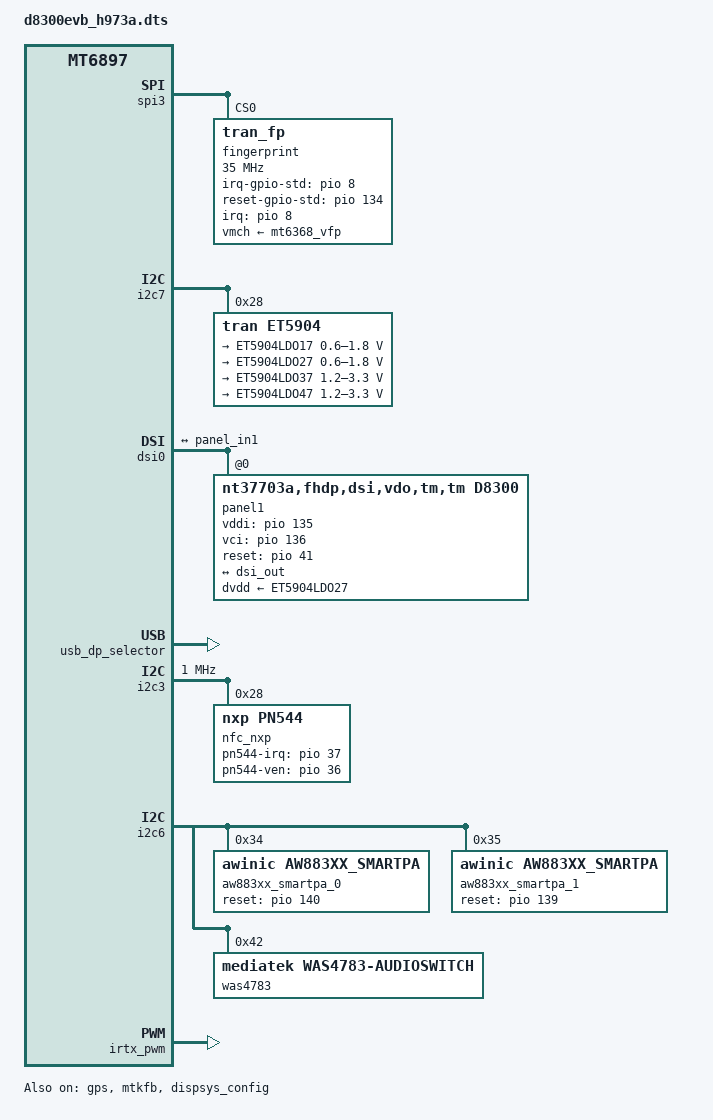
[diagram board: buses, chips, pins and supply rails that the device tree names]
// SPDX-License-Identifier: (GPL-2.0 OR MIT)
/*
 * Copyright (C) 2022 MediaTek Inc.
 */
/dts-v1/;
/plugin/;
#include <dt-bindings/interrupt-controller/arm-gic.h>
#include <dt-bindings/interrupt-controller/irq.h>
#include <dt-bindings/pinctrl/mt6897-pinfunc.h>
#include <dt-bindings/phy/phy.h>
#include <dt-bindings/iio/mt635x-auxadc.h>

&chosen {
bootargs_ext = "8250.nr_uarts=4";

};

&md_auxadc{
    io-channels = <&pmic_adc (ADC_PURES_OPEN_MASK | AUXADC_VIN1)>;
};

&pdc {
	pd-vbus-upper-bound = <9000000>;
};

&connfem {
/* Enable epa_elna node to support Wifi & BT ePA/eLNA FEM on customer load */
#if 1
	epa-elna {
		parts = <&qm42195 &nofem>;	/* [0] */
		wifi {
			flags-0 {
				/*open-loop;*/
			};
		};
		bt {
			flags-0 {
				/* choose one of: epa-elna/epa/elna/bypass */
				epa-elna;
			};
		};
	};
#endif
};
&tran_sensor_cust {
    /*lcm info for sensor start*/
    /*als sensor support state*/
    un_als_support = <1 0 0 0>;/*ML MSL SL SSL*/
    /*main sensor:ML*/
    ml_lcm_info = <843 63 43 43>;/*offset_x, offset_y, clip_w, clip_h*/
    /*main sub als lcm info:MSL*/
    /*lcm info for sensor end*/
	ml_nv_info = <1 1 1>; /*vendortype:SensorTek,  algotype:Cutout, version:V1_0_0*/
	nv_restore_time = <3>;
};
&spi3 {
    fingerprint@0 {
        compatible = "tran_fp";
        reg = <0>;
        spi-max-frequency = <35000000>;
        interrupt-parent = <&pio>;
        interrupts = <8 1 8 0>;
        debounce = <27 0>;
        irq-gpio = <8>;
        irq-gpio-std = <&pio 8 0x0>;
        reset-gpio = <134>;
        reset-gpio-std = <&pio 134 0x0>;
        vmch-supply = <&mt6368_vfp>;
        pinctrl-names ="tran_fp_default",
            "tran_fp_pin_irq",
            "tran_fp_irq_pull_down",
            "tran_fp_reset_high",
            "tran_fp_reset_low",
            "tran_fp_spi_default";
        pinctrl-0 = <&fingerprint_default>;
        pinctrl-1 = <&fingerprint_eint>;
        pinctrl-2 = <&fingerprint_eint_pull_down>;
        pinctrl-3 = <&fingerprint_rst_one>;
        pinctrl-4 = <&fingerprint_rst_zero>;
        pinctrl-5 = <&fingerprint_spi_default>;
        status = "okay";
    };
};
&pio {
    fingerprint_default: fingerprint_default {
	};
    fingerprint_eint: gpio8_eint {
    pins_cmd_dat {
        pinmux = <PINMUX_GPIO8__FUNC_GPIO8>;
        slew-rate = <0>;
        bias-disable;
        };
    };
    fingerprint_eint_pull_down: gpio8_eint_pull_down {
    pins_cmd_dat {
        pinmux = <PINMUX_GPIO8__FUNC_GPIO8>;
        slew-rate = <0>;
        bias-pull-down = <00>;
        output-low;
        };
    };
    fingerprint_rst_one: rst_out_one {
    pins_cmd_dat {
        pinmux = <PINMUX_GPIO134__FUNC_GPIO134>;
        slew-rate = <1>;
        bias-disable;
        output-high;
        };
    };
    fingerprint_rst_zero: rst_out_zero {
    pins_cmd_dat {
        pinmux = <PINMUX_GPIO134__FUNC_GPIO134>;
        slew-rate = <1>;
        bias-disable;
        output-low;
        };
    };
    fingerprint_spi_default: spimode_default {
        pins_cmd_dat {
        pinmux = <PINMUX_GPIO27__FUNC_SPI3_CLK>,
                <PINMUX_GPIO28__FUNC_SPI3_CSB>,
                <PINMUX_GPIO29__FUNC_SPI3_MI>,
                <PINMUX_GPIO30__FUNC_SPI3_MO>;
                drive-strength = <7>;
         };
     };
};

/* GPS GPIO standardization start */
&pio {
	gps_pins_default: gps-default {
	};
	gps_l1_lna_pins_ol: gps-l1-lna0 {
		pins-cmd-dat {
			pinmux = <PINMUX_GPIO190__FUNC_GPIO190>;
			output-low;
		};
	};
	gps_l1_lna_pins_dsp_ctrl: gps-l1-lna1 {
		pins-cmd-dat {
			pinmux = <PINMUX_GPIO190__FUNC_GPS_L1_ELNA_EN>;
		};
	};
	gps_l1_lna_pins_oh: gps-l1-lna2 {
		pins-cmd-dat {
			pinmux = <PINMUX_GPIO190__FUNC_GPIO190>;
			output-high;
		};
	};
	gps_l5_lna_pins_ol: gps-l5-lna0 {
		pins-cmd-dat {
			pinmux = <PINMUX_GPIO191__FUNC_GPIO191>;
			output-low;
		};
	};
	gps_l5_lna_pins_dsp_ctrl: gps-l5-lna1 {
		pins-cmd-dat {
			pinmux = <PINMUX_GPIO191__FUNC_GPS_L5_ELNA_EN>;
		};
	};
	gps_l5_lna_pins_oh: gps-l5-lna2 {
		pins-cmd-dat {
			pinmux = <PINMUX_GPIO191__FUNC_GPIO191>;
			output-high;
		};
	};
};
&gps {
	pinctrl-names = "default",
		"gps_l1_lna_disable",
		"gps_l1_lna_dsp_ctrl",
		"gps_l1_lna_enable",
		"gps_l5_lna_disable",
		"gps_l5_lna_dsp_ctrl",
		"gps_l5_lna_enable";
	pinctrl-0 = <&gps_pins_default>;
	pinctrl-1 = <&gps_l1_lna_pins_ol>;
	pinctrl-2 = <&gps_l1_lna_pins_dsp_ctrl>;
	pinctrl-3 = <&gps_l1_lna_pins_oh>;
	pinctrl-4 = <&gps_l5_lna_pins_ol>;
	pinctrl-5 = <&gps_l5_lna_pins_dsp_ctrl>;
	pinctrl-6 = <&gps_l5_lna_pins_oh>;
	status = "okay";
};
/* GPS GPIO standardization end */

&i2c7 {
	#address-cells = <1>;
	#size-cells = <0>;
	//clock-frequency = <400000>;
	//mediatek,use-open-drain;

	et5904@28 {
		compatible = "tran,et5904";
		reg = <0x28>;

		regulators {
			ET5904LDO17:ET5904LDO17 {
				regulator-name = "ET5904LDO17";
				regulator-min-microvolt = <600000>;
				regulator-max-microvolt = <1800000>;
			};
			ET5904LDO27:ET5904LDO27 {
				regulator-name = "ET5904LDO27";
				regulator-min-microvolt = <600000>;
				regulator-max-microvolt = <1800000>;
			};
			ET5904LDO37:ET5904LDO37 {
				regulator-name = "ET5904LDO37";
				regulator-min-microvolt = <1200000>;
				regulator-max-microvolt = <3300000>;
			};
			ET5904LDO47:ET5904LDO47 {
				regulator-name = "ET5904LDO47";
				regulator-min-microvolt = <1200000>;
				regulator-max-microvolt = <3300000>;
			};
		};
	};
};

&mtk_leds {
	compatible = "mediatek,disp-leds";

	backlight {
		led_mode = <4>;
		gate_enable = <0>;
		pwm_config = <0 1 0 0 0>;
		max-brightness = <511>;
		min-brightness = <0>;
		max-hw-brightness = <511>;
	};
};

&pio {
	mtkfb_pins_lcm_reset0: lcm_rst_out0_gpio {
		pins_cmd_dat {
			pinmux = <PINMUX_GPIO41__FUNC_GPIO41>;
			slew-rate = <1>;
			output-low;
		};
	};

	mtkfb_pins_lcm_reset1: lcm_rst_out1_gpio {
		pins_cmd_dat {
			pinmux = <PINMUX_GPIO41__FUNC_GPIO41>;
			slew-rate = <1>;
			output-high;
		};
	};

	mtkfb_pins_lcm_dsi_te: lcm_dsi_te {
		pins_cmd_dat {
			pinmux = <PINMUX_GPIO43__FUNC_DSI_TE>;
		};
	};
};

&mtkfb {
	pinctrl-names = "lcm_rst_out0_gpio", "lcm_rst_out1_gpio",
		"mode_te_te";
	pinctrl-1 = <&mtkfb_pins_lcm_reset0>;
	pinctrl-2 = <&mtkfb_pins_lcm_reset1>;
	pinctrl-3 = <&mtkfb_pins_lcm_dsi_te>;
	status = "okay";
};

&dispsys_config {
	pinctrl-names = "lcm_rst_out0_gpio", "lcm_rst_out1_gpio",
		"mode_te_te";
	pinctrl-1 = <&mtkfb_pins_lcm_reset0>;
	pinctrl-2 = <&mtkfb_pins_lcm_reset1>;
	pinctrl-3 = <&mtkfb_pins_lcm_dsi_te>;
	status = "okay";
};

&dsi0 {
	status = "okay";
	#address-cells = <1>;
	#size-cells = <0>;
	panel1@0 {
		compatible = "nt37703a,fhdp,dsi,vdo,tm,tm,d8300";
		reg = <0>;
		vddi-gpios = <&pio 135 0>;
		dvdd-supply = <&ET5904LDO27>;
		vci-gpios = <&pio 136 0>;
		reset-gpios = <&pio 41 0>;
		pinctrl-names = "default";
		port {
			panel_in1: endpoint {
				remote-endpoint = <&dsi_out>;
			};
		};
	};

	ports {
		port {
			dsi_out: endpoint {
				remote-endpoint = <&panel_in1>;
			};
		};
	};
};

/* usb typec mux start */
&mt6375_typec {
	//tcpc,en-fod;
	port {
		tcpc_typec_usb: endpoint {
			remote-endpoint = <&ssusb_mux>;
		};
	};
};

&typec_mux_switch {
	orientation-switch;
	mode-switch;
	accessory;
	port {
		ssusb_mux: endpoint {
			remote-endpoint = <&tcpc_typec_usb>;
		};
	};
};

#if 0
&ps5170 {
	pinctrl-names = "enable", "disable";
	pinctrl-0 = <&ps_enable>;
	pinctrl-1 = <&ps_disable>;
	status = "okay";
};

&pio {

	ps_enable: ps-enable {
		pins-cmd-dat {
			pinmux = <PINMUX_GPIO34__FUNC_GPIO34>;
			output-high;
		};
	};

	ps_disable: ps-disable {
		pins-cmd-dat {
			pinmux = <PINMUX_GPIO34__FUNC_GPIO34>;
			output-low;
		};
	};

};
#endif

&ssusb {
	maximum-speed = "super-speed";
};

&usb_dp_selector {
	status = "okay";
};
/* usb typec mux end */

&i2c3 {
       clock-frequency = <1000000>;
       nfc_nxp@28 {
               compatible = "nxp,pn544";
               reg = <0x28>;
               nxp,pn544-irq = <&pio 37 0x0>;
               nxp,pn544-ven = <&pio 36 0x0>;
       };
};
&i2c6 {
	aw883xx_smartpa_0: aw883xx@34 {
		compatible = "awinic,aw883xx_smartpa";
		#sound-dai-cells = <0>;
		reg = <0x34>;
		reset-gpio = <&pio 140 0x0>;
		#irq-gpio = <&pio 37 0x0>;
		sync-load = <1>;
		sound-channel = <0>;
		re-min = <1000>;
		re-max= <40000>;
		status = "okay";
	};
	aw883xx_smartpa_1: aw883xx@35 {
		compatible = "awinic,aw883xx_smartpa";
		#sound-dai-cells = <0>;
		reg = <0x35>;
		reset-gpio = <&pio 139 0x0>;
		#irq-gpio = <&pio 19 0x0>;
		sync-load = <1>;
		sound-channel = <1>;
		re-min = <1000>;
		re-max= <40000>;
		status = "okay";
	};
	was4783: was4783@42 {
		status = "ok";
		compatible = "mediatek,was4783-audioswitch";
		reg = <0x42>;
	};
};

&sound {
	mediatek,spk-i2s = <21 20>;
	mediatek,speaker-codec {
		sound-dai = <&aw883xx_smartpa_0 &aw883xx_smartpa_1>;
	};
};

&odm {
    tran_audio_controller:tran_audio_controller {
        compatible = "tran-audio-controller";
        tran_pa_type = <3>;
    };
};

&mt6363_vbuck1 {
	regulator-always-on;
};

&mt6363_vbuck2 {
	regulator-always-on;
};

&mt6363_vsram_digrf {
	regulator-always-on;
};

&mt6363_vsram_modem {
	regulator-always-on;
};

&mt6363_vcn15 {
	regulator-always-on;
};

&mt6363_vrf12 {
	regulator-always-on;
};

&irtx_pwm {
	pwm_ch = <2>;
	status = "okay";
};

#include "mediatek/cust_k6897_connfem.dtsi"
#include "mediatek/tc_led.dtsi"
#include "mediatek/touch/d8300evb_h973a/tran_mt6897_touch.dtsi"
#include "mediatek/msdc/d8300evb_h973a/cust_mt6897_msdc.dtsi"
#include "mediatek/camera/d8300evb/cust_mt6897_camera_v4l2.dtsi"
#include "mediatek/charge/d8300evb_h973a/tc_sc8565.dtsi"
#include "mediatek/charge/d8300evb_h973a/cps4021.dtsi"
#include "mediatek/charge/d8300evb_h973a/tran_usb_ctrl.dtsi"
#include "mediatek/charge/d8300evb_h973a/tc_pe50.dtsi"
#include "mediatek/charge/d8300evb_h973a/protocol_ta.dtsi"
#include "mediatek/charge/d8300evb_h973a/tc_charger.dtsi"
#include "mediatek/charge/d8300evb_h973a/tc_charger_lk.dtsi"
#include "mediatek/charge/d8300evb_h973a/bat_setting/mt6897_battery_prop.dtsi"
#include <d8300evb_h973a/cust.dtsi>
#include "sensor/tran_mt6881_d8300evb_h973a_sensor.dtsi"
/*End of this file, DO NOT ADD ANYTHING HERE*/
